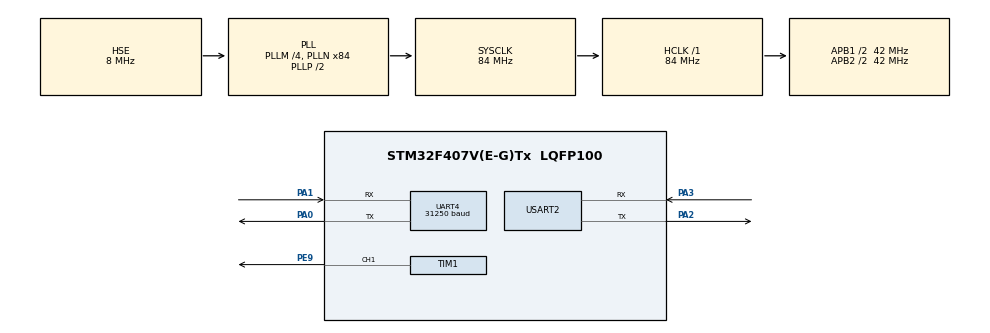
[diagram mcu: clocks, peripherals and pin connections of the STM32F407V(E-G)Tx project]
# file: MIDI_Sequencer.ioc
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Dma.Request0=TIM1_CH1
Dma.TIM1_CH1.0.Direction=DMA_MEMORY_TO_PERIPH
Dma.TIM1_CH1.0.FIFOMode=DMA_FIFOMODE_DISABLE
Dma.TIM1_CH1.0.Instance=DMA2_Stream1
Dma.TIM1_CH1.0.MemDataAlignment=DMA_MDATAALIGN_HALFWORD
Dma.TIM1_CH1.0.MemInc=DMA_MINC_ENABLE
Dma.TIM1_CH1.0.Mode=DMA_NORMAL
Dma.TIM1_CH1.0.PeriphDataAlignment=DMA_PDATAALIGN_HALFWORD
Dma.TIM1_CH1.0.PeriphInc=DMA_PINC_DISABLE
Dma.TIM1_CH1.0.Priority=DMA_PRIORITY_LOW
Mcu.Family=STM32F4
Mcu.Name=STM32F407V(E-G)Tx
Mcu.Package=LQFP100
NVIC.DMA2_Stream1_IRQn=true\:0\:0\:false\:false\:true\:false\:true\:true
NVIC.PriorityGroup=NVIC_PRIORITYGROUP_0
NVIC.USART2_IRQn=true\:0\:0\:false\:false\:true\:true\:true\:true
PA0-WKUP.Mode=Asynchronous
PA0-WKUP.Signal=UART4_TX
PA1.Mode=Asynchronous
PA1.Signal=UART4_RX
PA2.Mode=Asynchronous
PA2.Signal=USART2_TX
PA3.Mode=Asynchronous
PA3.Signal=USART2_RX
PE9.Signal=S_TIM1_CH1
PH0-OSC_IN.Mode=HSE-External-Oscillator
PH0-OSC_IN.Signal=RCC_OSC_IN
PH1-OSC_OUT.Mode=HSE-External-Oscillator
PH1-OSC_OUT.Signal=RCC_OSC_OUT
ProjectManager.HeapSize=0x200
ProjectManager.StackSize=0x400
ProjectManager.TargetToolchain=Makefile
RCC.48MHZClocksFreq_Value=24000000
RCC.AHBFreq_Value=84000000
RCC.APB1CLKDivider=RCC_HCLK_DIV2
RCC.APB1Freq_Value=42000000
RCC.APB1TimFreq_Value=84000000
RCC.APB2CLKDivider=RCC_HCLK_DIV2
RCC.APB2Freq_Value=42000000
RCC.APB2TimFreq_Value=84000000
RCC.CortexFreq_Value=84000000
RCC.HCLKFreq_Value=84000000
RCC.HSE_VALUE=8000000
RCC.HSI_VALUE=16000000
RCC.LSE_VALUE=32768
RCC.PLLM=4
RCC.PLLN=84
RCC.PLLQ=7
RCC.PLLSourceVirtual=RCC_PLLSOURCE_HSE
RCC.SYSCLKFreq_VALUE=84000000
RCC.SYSCLKSource=RCC_SYSCLKSOURCE_PLLCLK
RCC.VCOOutputFreq_Value=168000000
SH.S_TIM1_CH1.0=TIM1_CH1,PWM Generation1 CH1
TIM1.Channel-PWM\ Generation1\ CH1=TIM_CHANNEL_1
TIM1.Period=105-1
TIM3.Period=10000
TIM3.Prescaler=8400 -1
UART4.BaudRate=31250
UART4.VirtualMode=Asynchronous
USART2.VirtualMode=VM_ASYNC
VP_RTC_VS_RTC_Activate.Mode=RTC_Enabled
VP_TIM1_VS_ClockSourceINT.Mode=Internal
VP_TIM3_VS_ClockSourceINT.Mode=Internal
board=STM32F407G-DISC1

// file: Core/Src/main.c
/**
 * @ Author: Ruben Middelman
 * @ Create Time: 2024-03-21 17:13:12
 * @ Modified by: Ruben Middelman
 * @ Modified time: 2024-04-20 03:09:40
 * @ Description: Main program body
 */
/* USER CODE BEGIN Header */
/**
 ******************************************************************************
 * @file           : main.c
 * @brief          : Main program body
 ******************************************************************************
 * @attention
 *
 * Copyright (c) 2024 STMicroelectronics.
 * All rights reserved.
 *
 * This software is licensed under terms that can be found in the LICENSE file
 * in the root directory of this software component.
 * If no LICENSE file comes with this software, it is provided AS-IS.
 *
 ******************************************************************************
 */

/* USER CODE END Header */
#include "main.h"

/* USER CODE BEGIN Includes */
#include "LEDS.h"
#include "MIDI.h"
#include "Sequencer.h"

/* USER CODE END Includes */

RTC_HandleTypeDef hrtc;

TIM_HandleTypeDef htim1;
TIM_HandleTypeDef htim3;
DMA_HandleTypeDef hdma_tim1_ch1;

UART_HandleTypeDef huart4;
UART_HandleTypeDef huart2;

void SystemClock_Config(void);
static void MX_GPIO_Init(void);
static void MX_DMA_Init(void);
static void MX_UART4_Init(void);
static void MX_RTC_Init(void);
static void MX_TIM3_Init(void);
static void MX_USART2_UART_Init(void);
static void MX_TIM1_Init(void);

/* USER CODE BEGIN 0 */
uint8_t notes_On_Or_Off[8];
uint8_t notes_Values[8];
uint8_t recieved_Data[16];

void HAL_UART_RxCpltCallback(UART_HandleTypeDef *huart) {
  /* Prevent unused argument(s) compilation warning */
  UNUSED(huart);
  /* NOTE: This function should not be modified, when the callback is needed,
         the HAL_UART_RxCpltCallback could be implemented in the user file
  */
  for (int i = 0; i < 16; i++) {
    if (i < 8) {
      notes_On_Or_Off[i] = recieved_Data[i];
    } else {
      notes_Values[i % 8] = recieved_Data[i];
    }
  }
  __NOP();

  // Transmit the received data
}

/* USER CODE END 0 */

int main(void) {

  /* USER CODE BEGIN 1 */
  // lowest possible BPM is 60 (could be changed but would have to change the
  // settings of the timer)
  // TODO: i dont know if the bpm is correct, i feel the timing is but i dont
  // know for sure
  int BPM = 120;
  int wait_Time;

  /* MCU Configuration--------------------------------------------------------*/

  /* Reset of all peripherals, Initializes the Flash interface and the Systick.
   */
  HAL_Init();

  /* Configure the system clock */
  SystemClock_Config();

  /* Initialize all configured peripherals */
  MX_GPIO_Init();
  MX_DMA_Init();
  MX_UART4_Init();
  MX_RTC_Init();
  MX_TIM3_Init();
  MX_USART2_UART_Init();
  MX_TIM1_Init();
  /* USER CODE BEGIN 2 */
  HAL_TIM_Base_Start(&htim3);

  Calculate_BPM_To_Wait_Period(BPM, &wait_Time);

  /* USER CODE END 2 */

  /* Infinite loop */
  /* USER CODE BEGIN WHILE */
  while (1) {

    Play_Loop_Once(wait_Time, &notes_On_Or_Off, &notes_Values,
                   sizeof(notes_On_Or_Off));
    // Read_Data_From_Interface(notes_On_Or_Off, notes_Values,
    //                          sizeof(notes_On_Or_Off));

    /* USER CODE END WHILE */

  }
}

void SystemClock_Config(void) {
  RCC_OscInitTypeDef RCC_OscInitStruct = {0};
  RCC_ClkInitTypeDef RCC_ClkInitStruct = {0};

  /** Configure the main internal regulator output voltage
   */
  __HAL_RCC_PWR_CLK_ENABLE();
  __HAL_PWR_VOLTAGESCALING_CONFIG(PWR_REGULATOR_VOLTAGE_SCALE1);

  /** Initializes the RCC Oscillators according to the specified parameters
   * in the RCC_OscInitTypeDef structure.
   */
  RCC_OscInitStruct.OscillatorType =
      RCC_OSCILLATORTYPE_LSI | RCC_OSCILLATORTYPE_HSE;
  RCC_OscInitStruct.HSEState = RCC_HSE_ON;
  RCC_OscInitStruct.LSIState = RCC_LSI_ON;
  RCC_OscInitStruct.PLL.PLLState = RCC_PLL_ON;
  RCC_OscInitStruct.PLL.PLLSource = RCC_PLLSOURCE_HSE;
  RCC_OscInitStruct.PLL.PLLM = 4;
  RCC_OscInitStruct.PLL.PLLN = 84;
  RCC_OscInitStruct.PLL.PLLP = RCC_PLLP_DIV2;
  RCC_OscInitStruct.PLL.PLLQ = 7;
  if (HAL_RCC_OscConfig(&RCC_OscInitStruct) != HAL_OK) {
    Error_Handler();
  }

  /** Initializes the CPU, AHB and APB buses clocks
   */
  RCC_ClkInitStruct.ClockType = RCC_CLOCKTYPE_HCLK | RCC_CLOCKTYPE_SYSCLK |
                                RCC_CLOCKTYPE_PCLK1 | RCC_CLOCKTYPE_PCLK2;
  RCC_ClkInitStruct.SYSCLKSource = RCC_SYSCLKSOURCE_PLLCLK;
  RCC_ClkInitStruct.AHBCLKDivider = RCC_SYSCLK_DIV1;
  RCC_ClkInitStruct.APB1CLKDivider = RCC_HCLK_DIV2;
  RCC_ClkInitStruct.APB2CLKDivider = RCC_HCLK_DIV2;

  if (HAL_RCC_ClockConfig(&RCC_ClkInitStruct, FLASH_LATENCY_2) != HAL_OK) {
    Error_Handler();
  }
}

static void MX_RTC_Init(void) {

  /** Initialize RTC Only
   */
  hrtc.Instance = RTC;
  hrtc.Init.HourFormat = RTC_HOURFORMAT_24;
  hrtc.Init.AsynchPrediv = 127;
  hrtc.Init.SynchPrediv = 255;
  hrtc.Init.OutPut = RTC_OUTPUT_DISABLE;
  hrtc.Init.OutPutPolarity = RTC_OUTPUT_POLARITY_HIGH;
  hrtc.Init.OutPutType = RTC_OUTPUT_TYPE_OPENDRAIN;
  if (HAL_RTC_Init(&hrtc) != HAL_OK) {
    Error_Handler();
  }
}

static void MX_TIM1_Init(void) {

  TIM_ClockConfigTypeDef sClockSourceConfig = {0};
  TIM_MasterConfigTypeDef sMasterConfig = {0};
  TIM_OC_InitTypeDef sConfigOC = {0};
  TIM_BreakDeadTimeConfigTypeDef sBreakDeadTimeConfig = {0};

  htim1.Instance = TIM1;
  htim1.Init.Prescaler = 0;
  htim1.Init.CounterMode = TIM_COUNTERMODE_UP;
  htim1.Init.Period = 105 - 1;
  htim1.Init.ClockDivision = TIM_CLOCKDIVISION_DIV1;
  htim1.Init.RepetitionCounter = 0;
  htim1.Init.AutoReloadPreload = TIM_AUTORELOAD_PRELOAD_DISABLE;
  if (HAL_TIM_Base_Init(&htim1) != HAL_OK) {
    Error_Handler();
  }
  sClockSourceConfig.ClockSource = TIM_CLOCKSOURCE_INTERNAL;
  if (HAL_TIM_ConfigClockSource(&htim1, &sClockSourceConfig) != HAL_OK) {
    Error_Handler();
  }
  if (HAL_TIM_PWM_Init(&htim1) != HAL_OK) {
    Error_Handler();
  }
  sMasterConfig.MasterOutputTrigger = TIM_TRGO_RESET;
  sMasterConfig.MasterSlaveMode = TIM_MASTERSLAVEMODE_DISABLE;
  if (HAL_TIMEx_MasterConfigSynchronization(&htim1, &sMasterConfig) != HAL_OK) {
    Error_Handler();
  }
  sConfigOC.OCMode = TIM_OCMODE_PWM1;
  sConfigOC.Pulse = 0;
  sConfigOC.OCPolarity = TIM_OCPOLARITY_HIGH;
  sConfigOC.OCNPolarity = TIM_OCNPOLARITY_HIGH;
  sConfigOC.OCFastMode = TIM_OCFAST_DISABLE;
  sConfigOC.OCIdleState = TIM_OCIDLESTATE_RESET;
  sConfigOC.OCNIdleState = TIM_OCNIDLESTATE_RESET;
  if (HAL_TIM_PWM_ConfigChannel(&htim1, &sConfigOC, TIM_CHANNEL_1) != HAL_OK) {
    Error_Handler();
  }
  sBreakDeadTimeConfig.OffStateRunMode = TIM_OSSR_DISABLE;
  sBreakDeadTimeConfig.OffStateIDLEMode = TIM_OSSI_DISABLE;
  sBreakDeadTimeConfig.LockLevel = TIM_LOCKLEVEL_OFF;
  sBreakDeadTimeConfig.DeadTime = 0;
  sBreakDeadTimeConfig.BreakState = TIM_BREAK_DISABLE;
  sBreakDeadTimeConfig.BreakPolarity = TIM_BREAKPOLARITY_HIGH;
  sBreakDeadTimeConfig.AutomaticOutput = TIM_AUTOMATICOUTPUT_DISABLE;
  if (HAL_TIMEx_ConfigBreakDeadTime(&htim1, &sBreakDeadTimeConfig) != HAL_OK) {
    Error_Handler();
  }
  HAL_TIM_MspPostInit(&htim1);
}

static void MX_TIM3_Init(void) {

  TIM_ClockConfigTypeDef sClockSourceConfig = {0};
  TIM_MasterConfigTypeDef sMasterConfig = {0};

  htim3.Instance = TIM3;
  htim3.Init.Prescaler = 8400 - 1;
  htim3.Init.CounterMode = TIM_COUNTERMODE_UP;
  htim3.Init.Period = 10000;
  htim3.Init.ClockDivision = TIM_CLOCKDIVISION_DIV1;
  htim3.Init.AutoReloadPreload = TIM_AUTORELOAD_PRELOAD_DISABLE;
  if (HAL_TIM_Base_Init(&htim3) != HAL_OK) {
    Error_Handler();
  }
  sClockSourceConfig.ClockSource = TIM_CLOCKSOURCE_INTERNAL;
  if (HAL_TIM_ConfigClockSource(&htim3, &sClockSourceConfig) != HAL_OK) {
    Error_Handler();
  }
  sMasterConfig.MasterOutputTrigger = TIM_TRGO_RESET;
  sMasterConfig.MasterSlaveMode = TIM_MASTERSLAVEMODE_DISABLE;
  if (HAL_TIMEx_MasterConfigSynchronization(&htim3, &sMasterConfig) != HAL_OK) {
    Error_Handler();
  }
}

static void MX_UART4_Init(void) {

  huart4.Instance = UART4;
  huart4.Init.BaudRate = 31250;
  huart4.Init.WordLength = UART_WORDLENGTH_8B;
  huart4.Init.StopBits = UART_STOPBITS_1;
  huart4.Init.Parity = UART_PARITY_NONE;
  huart4.Init.Mode = UART_MODE_TX_RX;
  huart4.Init.HwFlowCtl = UART_HWCONTROL_NONE;
  huart4.Init.OverSampling = UART_OVERSAMPLING_16;
  if (HAL_UART_Init(&huart4) != HAL_OK) {
    Error_Handler();
  }
}

static void MX_USART2_UART_Init(void) {

  huart2.Instance = USART2;
  huart2.Init.BaudRate = 115200;
  huart2.Init.WordLength = UART_WORDLENGTH_8B;
  huart2.Init.StopBits = UART_STOPBITS_1;
  huart2.Init.Parity = UART_PARITY_NONE;
  huart2.Init.Mode = UART_MODE_TX_RX;
  huart2.Init.HwFlowCtl = UART_HWCONTROL_NONE;
  huart2.Init.OverSampling = UART_OVERSAMPLING_16;
  if (HAL_UART_Init(&huart2) != HAL_OK) {
    Error_Handler();
  }
}

static void MX_DMA_Init(void) {

  /* DMA controller clock enable */
  __HAL_RCC_DMA2_CLK_ENABLE();

  /* DMA interrupt init */
  /* DMA2_Stream1_IRQn interrupt configuration */
  HAL_NVIC_SetPriority(DMA2_Stream1_IRQn, 0, 0);
  HAL_NVIC_EnableIRQ(DMA2_Stream1_IRQn);
}

static void MX_GPIO_Init(void) {

  /* GPIO Ports Clock Enable */
  __HAL_RCC_GPIOH_CLK_ENABLE();
  __HAL_RCC_GPIOA_CLK_ENABLE();
  __HAL_RCC_GPIOE_CLK_ENABLE();

}

void Error_Handler(void) {
  __disable_irq();
  while (1) {
  }
}

#ifdef USE_FULL_ASSERT
/**
 * @brief  Reports the name of the source file and the source line number
 *         where the assert_param error has occurred.
 * @param  file: pointer to the source file name
 * @param  line: assert_param error line source number
 * @retval None
 */
void assert_failed(uint8_t *file, uint32_t line) {
  /* USER CODE BEGIN 6 */
  /* User can add his own implementation to report the file name and line
     number, ex: printf("Wrong parameters value: file %s on line %d\r\n", file,
     line) */
  /* USER CODE END 6 */
}
#endif /* USE_FULL_ASSERT */
